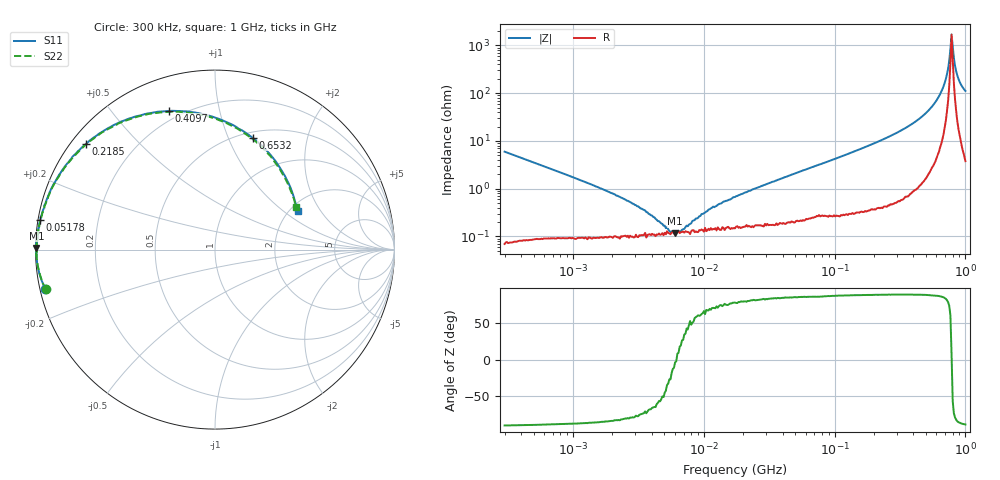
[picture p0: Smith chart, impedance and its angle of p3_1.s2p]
#  HZ  S  RI  R  50
! Rohde & Schwarz ZVA/B
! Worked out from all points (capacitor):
!   401 points, 300 kHz to 1 GHz, reference 50 ohm
!   read as one part in shunt: C = 89 nF near 312.4 kHz
!   lowest |Z| = 117 mohm at 6.034 MHz (marker M1)
!   series resonance near 6.188 MHz, so ESL is about 7.4 nH
!   S11 on the Smith chart (normalised r, x): 300 kHz: 0.02, -0.12; 51.78 MHz: 0.01, +0.08; 218.5 MHz: 0.04, +0.36; 409.7 MHz: 0.15, +0.71; 653.2 MHz: 0.56, +1.23; 1 GHz: 2.21, +1.26
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300000  -0.9449 -0.2218  0.0556 -0.2245  0.0561 -0.2254  -0.943 -0.2223
1167356  -0.9933 -0.0557  0.00704 -0.0582  0.0072 -0.0583  -0.9927 -0.0563
2574448  -0.9966 -0.0173  0.00431 -0.0221  0.00483 -0.0221  -0.9949 -0.019
3561224  -0.9947 -0.00586  0.00481 -0.0131  0.00438 -0.0127  -0.9958 -0.00581
4542403  -0.995 0.000329  0.00459 -0.00691  0.00486 -0.0066  -0.9945 0.00161
5563622  -0.9939 0.00684  0.00442 -0.00227  0.00463 -0.0023  -0.9958 0.00706
6033737  -0.9953 0.00839  0.00466 -0.000366  0.0051 -0.000177  -0.9955 0.00964
6814431  -0.9947 0.0128  0.00496 0.00235  0.0054 0.00202  -0.9942 0.0122
9426375  -0.9943 0.0253  0.0056 0.00914  0.00506 0.00949  -0.9933 0.0252
1.131383e7  -0.9957 0.0318  0.0064 0.014  0.00585 0.0135  -0.993 0.0337
1.732051e7  -0.9937 0.0541  0.00728 0.0256  0.0072 0.0258  -0.9897 0.0542
5.177848e7  -0.9742 0.1653  0.0225 0.0823  0.0217 0.0823  -0.9719 0.1659
6.739735e7  -0.9593 0.2107  0.0332 0.1055  0.0331 0.1054  -0.9585 0.2146
1.370549e8  -0.8737 0.4065  0.1014 0.1914  0.1011 0.1915  -0.8708 0.4061
2.185044e8  -0.7187 0.5891  0.2204 0.2492  0.2203 0.2493  -0.7156 0.5884
2.622557e8  -0.6195 0.6623  0.2934 0.2575  0.2938 0.2573  -0.6162 0.6595
3.345117e8  -0.4437 0.7415  0.416 0.2343  0.4155 0.2345  -0.4431 0.737
4.097164e8  -0.2582 0.7724  0.5305 0.1643  0.5302 0.1649  -0.263 0.7662
5.226004e8  -0.0109 0.7396  0.6511 -0.00336  0.651 -0.00191  -0.0193 0.7363
6.53204e8  0.209 0.6238  0.6906 -0.2402  0.6898 -0.2411  0.1954 0.6265
8.000568e8  0.365 0.4511  0.6135 -0.4996  0.6127 -0.5007  0.3494 0.4653
1e9  0.4596 0.2126  0.3597 -0.7556  0.3615 -0.7563  0.4511 0.2397
